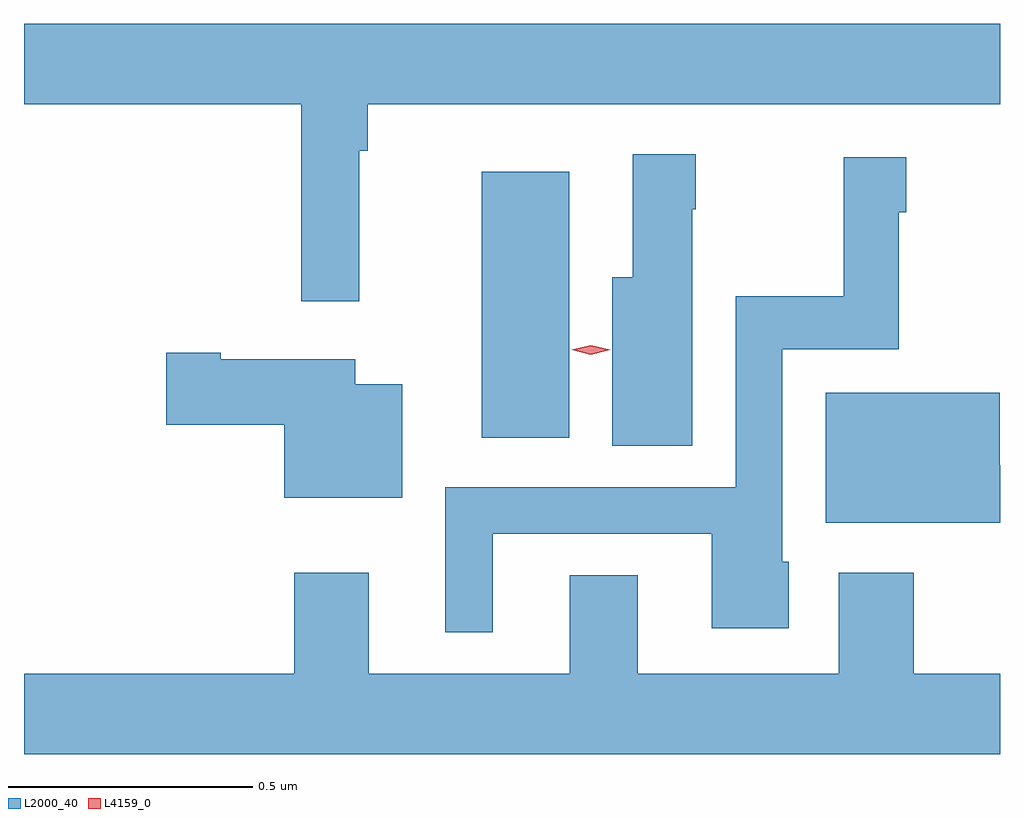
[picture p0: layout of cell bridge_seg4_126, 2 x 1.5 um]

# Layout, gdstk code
import gdstk
lib = gdstk.Library(unit=1e-6, precision=1e-09)
def R(c, l, rs):  # rectangles x0, y0, x1, y1
    for r in rs: c.add(gdstk.rectangle(r[:2], r[2:], *l))
def P(c, l, *ps):  # polygons
    for p in ps: c.add(gdstk.Polygon(p, *l))
L2000_40 = (2000, 40)
L4159_0 = (4159, 0)

bridge_seg4_126 = lib.new_cell('bridge_seg4_126')
R(bridge_seg4_126, L2000_40, [(268.547,790.808,268.726,791.353)])
P(bridge_seg4_126, L2000_40, [(268.296,791.396),(268.313,791.396),(268.313,791.492),(269.609,791.492),(269.609,791.656),(267.609,791.656),(267.609,791.492),(268.177,791.492),(268.177,791.088),(268.296,791.088)],
  [(268.978,791.276),(268.986,791.276),(268.986,791.389),(268.856,791.389),(268.856,791.137),(268.814,791.137),(268.814,790.792),(268.978,790.792)],
  [(268.57,790.611),(269.018,790.611),(269.018,790.418),(269.176,790.418),(269.176,790.554),(269.163,790.554),(269.163,790.989),(269.402,790.989),(269.402,791.27),(269.417,791.27),(269.417,791.383),(269.289,791.383),(269.289,791.098),(269.067,791.098),(269.067,790.707),(268.472,790.707),(268.472,790.41),(268.57,790.41)],
  [(268.384,790.918),(268.288,790.918),(268.288,790.969),(268.012,790.969),(268.012,790.982),(267.9,790.982),(267.9,790.835),(268.142,790.835),(268.142,790.685),(268.384,790.685)],
  [(269.609,790.752),(269.608,790.752),(269.608,790.9),(269.252,790.9),(269.252,790.634),(269.609,790.634)],
  [(269.609,790.324),(269.432,790.324),(269.432,790.531),(269.279,790.531),(269.279,790.324),(268.867,790.324),(268.867,790.526),(268.727,790.526),(268.727,790.324),(268.315,790.324),(268.315,790.531),(268.163,790.531),(268.163,790.324),(267.609,790.324),(267.609,790.16),(269.609,790.16)])
P(bridge_seg4_126, L4159_0, [(268.77,790.978),(268.731,790.988),(268.731,790.988),(268.731,790.988),(268.77,790.998),(268.81,790.988),(268.81,790.988),(268.81,790.988)])

lib.write_gds('bridge_seg4_126.gds')
